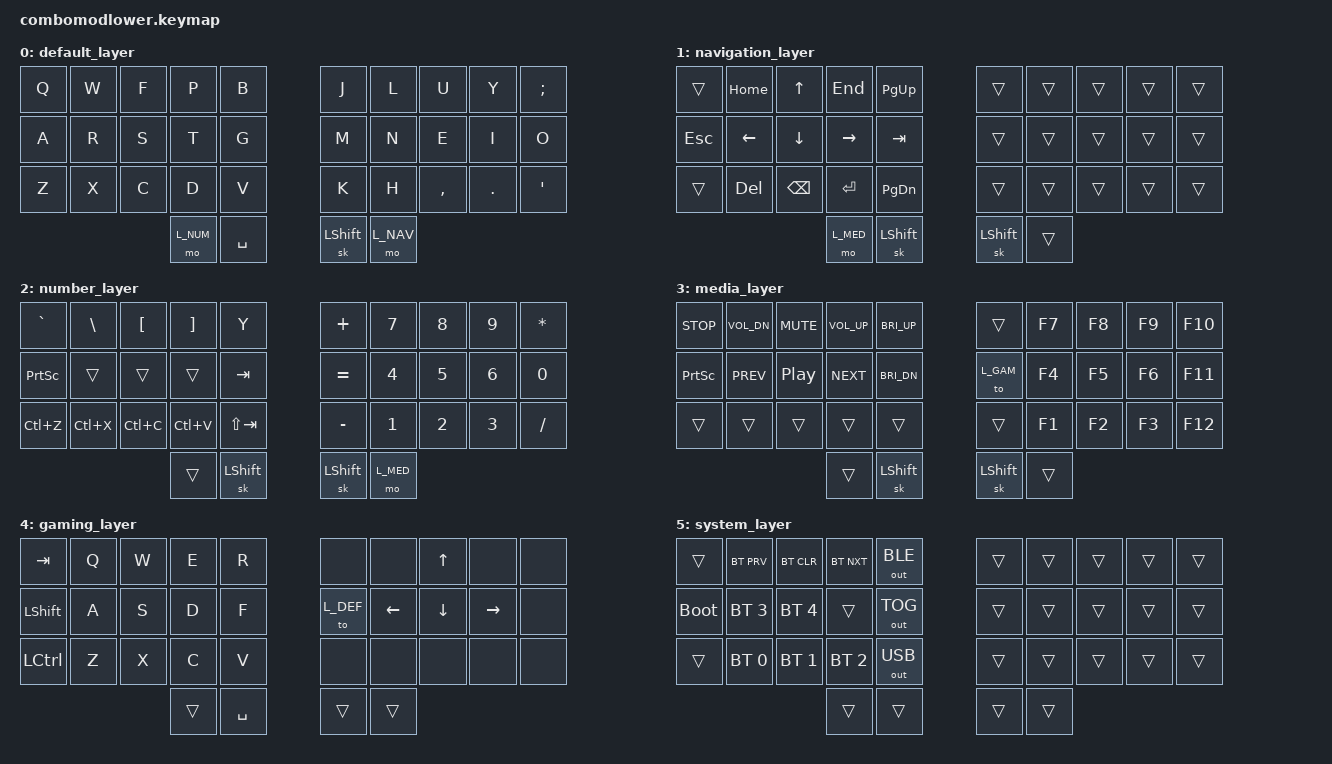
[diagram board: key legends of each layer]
/*
 * Copyright (c) 2020 The ZMK Contributors
 *
 * SPDX-License-Identifier: MIT
 */

#include <behaviors.dtsi>
#include <dt-bindings/zmk/bt.h>
#include <dt-bindings/zmk/keys.h>
#include <dt-bindings/zmk/outputs.h>

// GENERAL KEYS
#define GEN_NONE &none
#define GEN_TRAN &trans
#define GEN_BSPC &kp BSPC

// DEFAULT LAYER

#define L_DEF 0

#define DEF_Q &kp Q
#define DEF_W &kp W
#define DEF_F &kp F
#define DEF_P &kp P
#define DEF_B &kp B
                        
#define DEF_A &kp A 
#define DEF_R &kp R 
#define DEF_S &kp S
#define DEF_T &kp T 
#define DEF_G &kp G
        
#define DEF_Z &kp Z
#define DEF_X &kp X
#define DEF_C &kp C
#define DEF_D &kp D
#define DEF_V &kp V
                        

#define DEF_J &kp J
#define DEF_L &kp L
#define DEF_U &kp U
#define DEF_Y &kp Y
#define DEF_SEMI &kp SEMI

#define DEF_K &kp K
#define DEF_H &kp H
#define DEF_COMA &kp COMMA
#define DEF_DOT &kp DOT
#define DEF_QUOT &kp SQT

#define DEF_M &kp M
#define DEF_N &kp N
#define DEF_E &kp E
#define DEF_I &kp I 
#define DEF_O &kp O

#define DEF_SPC  &kp SPC
#define DEF_NAV  &mo L_NAV
#define DEF_NUM  &mo L_NUM
#define DEF_MED  &mo L_MED
#define DEF_SHFT &sk LSHIFT

// NAVIGATION LAYER
#define L_NAV 1

#define NAV_BSLH &kp BSLH
#define NAV_HOME &kp HOME
#define NAV_UP &kp UP
#define NAV_END &kp END
#define NAV_PGUP &kp PG_UP

#define NAV_ESC &kp ESC
#define NAV_LEFT &kp LEFT
#define NAV_DOWN &kp DOWN
#define NAV_RGHT &kp RIGHT
#define NAV_TAB &kp TAB

#define NAV_GRV &kp GRAVE
#define NAV_DEL &kp DEL
#define NAV_BSPC &kp BSPC
#define NAV_RET &kp RET
#define NAV_PGDN &kp PG_DN

// NUM LAYER
#define L_NUM 2

#define NUM_LBKT &kp LBKT
#define NUM_N7 &kp N7 
#define NUM_N8 &kp N8
#define NUM_N9 &kp N9
#define NUM_RBKT &kp RBKT 

#define NUM_EQUL &kp EQUAL
#define NUM_PLUS &kp PLUS
#define NUM_AST  &kp ASTERISK 

#define NUM_N4 &kp N4
#define NUM_N5 &kp N5
#define NUM_N6 &kp N6
#define NUM_N0 &kp N0

#define NUM_MIN &kp MINUS
#define NUM_N1 &kp N1
#define NUM_N2 &kp N2
#define NUM_N3 &kp N3
#define NUM_FSLH &kp FSLH

// MEDIA LAYER
#define L_MED 3

#define MED_BRID &kp C_BRI_DN
#define MED_VOLU &kp C_VOL_UP
#define MED_BRIU &kp C_BRI_UP


#define MED_PRNT &kp PSCRN
#define MED_PREV &kp C_PREV
#define MED_PLAY &kp C_PP
#define MED_NEXT &kp C_NEXT

#define MED_MUTE &kp C_MUTE
#define MED_VOLD &kp C_VOL_DN
#define MED_STOP &kp C_STOP

#define MED_UNDO &kp LC(Z)
#define MED_CUT  &kp LC(X)
#define MED_COPY &kp LC(C)
#define NUM_PST  &kp LC(V)
#define NUM_STAB &kp LS(TAB)

#define FUN_F7 &kp F7
#define FUN_F8 &kp F8
#define FUN_F9 &kp F9
#define FUN_F10 &kp F10

#define FUN_GAME &to L_GAM
#define FUN_F4 &kp F4
#define FUN_F5 &kp F5
#define FUN_F6 &kp F6
#define FUN_F11 &kp F11

#define FUN_BOOT &bootloader
#define FUN_F1 &kp F1
#define FUN_F2 &kp F2
#define FUN_F3 &kp F3
#define FUN_F13 &kp F12

#define FUN_SPC &kp LC(SPC)

// GAMING LAYER
#define L_GAM 4

#define GAM_TAB &kp TAB
#define GAM_Q &kp Q
#define GAM_W &kp W
#define GAM_E &kp E
#define GAM_R &kp R

#define GAM_LSFT &kp LSHIFT
#define GAM_A &kp A
#define GAM_S &kp S
#define GAM_D &kp D
#define GAM_F &kp F

#define GAM_LCTL &kp LCTRL
#define GAM_Z &kp Z
#define GAM_X &kp X
#define GAM_C &kp C
#define GAM_V &kp V


#define GAM_UP &kp UP

#define GAM_DEF &to L_DEF
#define GAM_LEFT &kp LEFT
#define GAM_DOWN &kp DOWN
#define GAM_RGHT &kp RIGHT

#define GAM_ESC &kp ESC
#define GAM_SPC &kp SPACE

// SYSTEM LAYER
#define L_SYS 5

#define SYS_BOOT &bootloader
#define SYS_BTCL &bt BT_CLR
#define SYS_BTNX &bt BT_NXT
#define SYS_BTPR &bt BT_PRV
#define SYS_BLE &out OUT_BLE
#define SYS_USB &out OUT_USB
#define SYS_OTG &out OUT_TOG
#define SYS_BT0 &bt BT_SEL 0
#define SYS_BT1 &bt BT_SEL 1
#define SYS_BT2 &bt BT_SEL 2
#define SYS_BT3 &bt BT_SEL 3
#define SYS_BT4 &bt BT_SEL 4


&mt {
  flavor = "tap-preferred";
  tapping_term_ms = <200>;
};

&lt {
  flavor = "tap-preferred";
  tapping_term_ms = <200>;
};
&sl {
    release-after-ms = <1000>;
};
&sk {
    release-after-ms = <1000>;
    quick-release;
};
/ {
  combos {
    compatible = "zmk,combos";
    combo_systeml {
      timeout-ms = <50>;
      key-positions = <0 20>;
      bindings = <&tog L_SYS>;
    };
    combo_systemr {
      timeout-ms = <50>;
      key-positions = <9 29>;
      bindings = <&tog L_SYS>;
    };
    combo_lesc {
      timeout-ms = <50>;
      key-positions = <1 11>;
      bindings = <&kp ESC>;
    };
    combo_lbspc {
      timeout-ms = <50>;
      key-positions = <2 12>;
      bindings = <&kp BSPC>;
    };
    combo_lret {
      timeout-ms = <50>;
      key-positions = <3 13>;
      bindings = <&kp RET>;
    };
    combo_ldel {
      timeout-ms = <50>;
      key-positions = <4 14>;
      bindings = <&kp DEL>;
    };
    combo_lalt {
      timeout-ms = <50>;
      key-positions = <11 21>;
      bindings = <&kp LALT>;
    };
    combo_lgui {
      timeout-ms = <50>;
      key-positions = <12 22>;
      bindings = <&kp LGUI>;
    };
    combo_lctrl {
      timeout-ms = <50>;
      key-positions = <13 23>;
      bindings = <&kp LCTRL>;
    };
    combo_ltab {
      timeout-ms = <50>;
      key-positions = <14 24>;
      bindings = <&kp TAB>;
    };


    combo_rdel {
      timeout-ms = <50>;
      key-positions = <5 15>;
      bindings = <&kp DEL>;
    };
    combo_rret {
      timeout-ms = <50>;
      key-positions = <6 16>;
      bindings = <&kp RET>;
    };
    combo_rbspc {
      timeout-ms = <50>;
      key-positions = <7 17>;
      bindings = <&kp BSPC>;
    };
    combo_resc {
      timeout-ms = <50>;
      key-positions = <8 18>;
      bindings = <&kp ESC>;
    };
    combo_rtab {
      timeout-ms = <50>;
      key-positions = <15 25>;
      bindings = <&kp TAB>;
    };
    combo_rctrl {
      timeout-ms = <50>;
      key-positions = <16 26>;
      bindings = <&kp RCTRL>;
    };
    combo_rgui {
      timeout-ms = <50>;
      key-positions = <17 27>;
      bindings = <&kp RGUI>;
    };
    combo_ralt {
      timeout-ms = <50>;
      key-positions = <18 28>;
      bindings = <&kp RALT>;
    };
  };

  keymap {
    compatible = "zmk,keymap";

    default_layer {
      bindings = <
        DEF_Q    DEF_W    DEF_F    DEF_P    DEF_B          DEF_J    DEF_L    DEF_U    DEF_Y    DEF_SEMI
        DEF_A    DEF_R    DEF_S    DEF_T    DEF_G          DEF_M    DEF_N    DEF_E    DEF_I    DEF_O
        DEF_Z    DEF_X    DEF_C    DEF_D    DEF_V          DEF_K    DEF_H    DEF_COMA DEF_DOT  DEF_QUOT
                                   DEF_NUM  DEF_SPC        DEF_SHFT DEF_NAV
      >;
    };

    navigation_layer {
      bindings = <
        GEN_TRAN NAV_HOME NAV_UP   NAV_END  NAV_PGUP       GEN_TRAN GEN_TRAN GEN_TRAN GEN_TRAN GEN_TRAN
        NAV_ESC  NAV_LEFT NAV_DOWN NAV_RGHT NAV_TAB        GEN_TRAN GEN_TRAN GEN_TRAN GEN_TRAN GEN_TRAN
        GEN_TRAN NAV_DEL  NAV_BSPC NAV_RET  NAV_PGDN       GEN_TRAN GEN_TRAN GEN_TRAN GEN_TRAN GEN_TRAN
                                   DEF_MED  DEF_SHFT       DEF_SHFT GEN_TRAN
      >;
    };

    number_layer {
      bindings = <
        NAV_GRV  NAV_BSLH NUM_LBKT NUM_RBKT DEF_Y          NUM_PLUS NUM_N7    NUM_N8    NUM_N9    NUM_AST
        MED_PRNT GEN_TRAN GEN_TRAN GEN_TRAN NAV_TAB        NUM_EQUL NUM_N4    NUM_N5    NUM_N6    NUM_N0
        MED_UNDO MED_CUT  MED_COPY NUM_PST  NUM_STAB       NUM_MIN  NUM_N1    NUM_N2    NUM_N3    NUM_FSLH
                                   GEN_TRAN DEF_SHFT       DEF_SHFT DEF_MED
      >;
    };

    media_layer {
      bindings = <
        MED_STOP MED_VOLD MED_MUTE MED_VOLU MED_BRIU       GEN_TRAN FUN_F7   FUN_F8   FUN_F9   FUN_F10
        MED_PRNT MED_PREV MED_PLAY MED_NEXT MED_BRID       FUN_GAME FUN_F4   FUN_F5   FUN_F6   FUN_F11
        GEN_TRAN GEN_TRAN GEN_TRAN GEN_TRAN GEN_TRAN       GEN_TRAN FUN_F1   FUN_F2   FUN_F3   FUN_F13
                                   GEN_TRAN DEF_SHFT       DEF_SHFT GEN_TRAN
      >;
    };

    gaming_layer {
      bindings = <
        GAM_TAB  GAM_Q    GAM_W    GAM_E    GAM_R          GEN_NONE GEN_NONE GAM_UP   GEN_NONE GEN_NONE
        GAM_LSFT GAM_A    GAM_S    GAM_D    GAM_F          GAM_DEF  GAM_LEFT GAM_DOWN GAM_RGHT GEN_NONE
        GAM_LCTL GAM_Z    GAM_X    GAM_C    GAM_V          GEN_NONE GEN_NONE GEN_NONE GEN_NONE GEN_NONE
                                   GEN_TRAN GAM_SPC        GEN_TRAN GEN_TRAN
      >;
    };

    system_layer {
      bindings = <
        GEN_TRAN SYS_BTPR SYS_BTCL SYS_BTNX SYS_BLE        GEN_TRAN GEN_TRAN GEN_TRAN GEN_TRAN GEN_TRAN
        SYS_BOOT SYS_BT3  SYS_BT4  GEN_TRAN SYS_OTG        GEN_TRAN GEN_TRAN GEN_TRAN GEN_TRAN GEN_TRAN
        GEN_TRAN SYS_BT0  SYS_BT1  SYS_BT2  SYS_USB        GEN_TRAN GEN_TRAN GEN_TRAN GEN_TRAN GEN_TRAN
                                   GEN_TRAN GEN_TRAN       GEN_TRAN GEN_TRAN
      >;
    };

    // empty_layer {
    //   bindings = <
    //     GEN_TRAN GEN_TRAN GEN_TRAN GEN_TRAN GEN_TRAN       GEN_TRAN GEN_TRAN GEN_TRAN GEN_TRAN GEN_TRAN
    //     GEN_TRAN GEN_TRAN GEN_TRAN GEN_TRAN GEN_TRAN       GEN_TRAN GEN_TRAN GEN_TRAN GEN_TRAN GEN_TRAN
    //     GEN_TRAN GEN_TRAN GEN_TRAN GEN_TRAN GEN_TRAN       GEN_TRAN GEN_TRAN GEN_TRAN GEN_TRAN GEN_TRAN
    //                                GEN_TRAN GEN_TRAN       GEN_TRAN GEN_TRAN
    //   >;
    // };

  };
};
